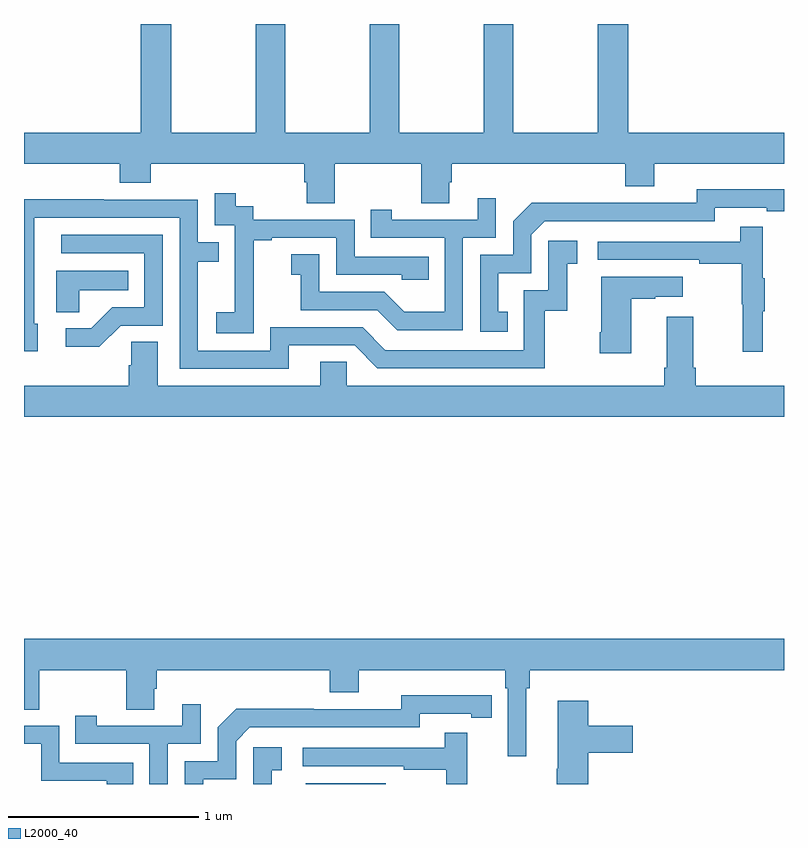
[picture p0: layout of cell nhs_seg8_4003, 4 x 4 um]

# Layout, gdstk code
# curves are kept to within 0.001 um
import gdstk
lib = gdstk.Library(unit=1e-6, precision=1e-09)
def R(c, l, rs):  # rectangles x0, y0, x1, y1
    for r in rs: c.add(gdstk.rectangle(r[:2], r[2:], *l))
def P(c, l, *ps):  # polygons
    for p in ps: c.add(gdstk.Polygon(p, *l))
L2000_40 = (2000, 40)

nhs_seg8_4003 = lib.new_cell('nhs_seg8_4003')
R(nhs_seg8_4003, L2000_40, [(358.484,1115.9,358.903,1115.905)])
P(nhs_seg8_4003, L2000_40, [(360.019,1119.328),(359.574,1119.328),(359.574,1119.9),(359.419,1119.9),(359.419,1119.328),(358.974,1119.328),(358.974,1119.9),(358.819,1119.9),(358.819,1119.328),(358.374,1119.328),(358.374,1119.9),(358.219,1119.9),(358.219,1119.328),(357.774,1119.328),(357.774,1119.9),(357.614,1119.9),(357.614,1119.328),(357,1119.328),(357,1119.164),(357.503,1119.164),(357.503,1119.065),(357.668,1119.065),(357.668,1119.164),(358.475,1119.164),(358.475,1119.066),(358.487,1119.066),(358.487,1118.956),(358.635,1118.956),(358.635,1119.164),(359.092,1119.164),(359.092,1118.956),(359.239,1118.956),(359.239,1119.066),(359.252,1119.066),(359.252,1119.164),(360.164,1119.164),(360.164,1119.047),(360.316,1119.047),(360.316,1119.164),(361,1119.164),(361,1119.328),(360.179,1119.328),(360.179,1119.9),(360.019,1119.9)],
  [(359.546,1118.385),(359.497,1118.385),(359.497,1118.589),(359.67,1118.589),(359.67,1118.79),(359.742,1118.862),(360.636,1118.862),(360.636,1118.934),(360.908,1118.934),(360.908,1118.914),(361,1118.914),(361,1119.03),(360.54,1119.031),(360.54,1118.958),(360.08,1118.958),(360.08,1118.96),(359.672,1118.96),(359.574,1118.862),(359.574,1118.685),(359.4,1118.685),(359.4,1118.28),(359.546,1118.28)],
  [(358.209,1118.479),(358.208,1118.479),(358.208,1118.763),(358.303,1118.763),(358.303,1118.775),(358.644,1118.775),(358.644,1118.58),(358.989,1118.58),(358.989,1118.553),(359.129,1118.553),(359.129,1118.676),(358.74,1118.676),(358.74,1118.871),(358.206,1118.871),(358.206,1118.94),(358.114,1118.94),(358.114,1119.01),(358.005,1119.01),(358.005,1118.841),(358.11,1118.841),(358.11,1118.612),(358.109,1118.612),(358.109,1118.383),(358.011,1118.383),(358.011,1118.273),(358.209,1118.273)],
  [(359.31,1118.775),(359.484,1118.775),(359.484,1118.983),(359.387,1118.983),(359.387,1118.871),(358.936,1118.871),(358.936,1118.923),(358.825,1118.923),(358.825,1118.775),(359.214,1118.775),(359.214,1118.386),(359,1118.386),(358.896,1118.49),(358.554,1118.49),(358.554,1118.689),(358.407,1118.689),(358.407,1118.579),(358.456,1118.579),(358.456,1118.394),(358.859,1118.394),(358.964,1118.289),(359.31,1118.289)],
  [(358.393,1118.208),(358.74,1118.208),(358.86,1118.088),(359.74,1118.088),(359.74,1118.391),(359.858,1118.391),(359.858,1118.637),(359.911,1118.637),(359.911,1118.758),(359.76,1118.758),(359.76,1118.499),(359.631,1118.499),(359.631,1118.184),(358.902,1118.184),(358.782,1118.304),(358.296,1118.304),(358.296,1118.181),(357.915,1118.181),(357.915,1118.65),(358.025,1118.65),(358.025,1118.751),(357.915,1118.751),(357.915,1118.976),(357.419,1118.976),(357.419,1118.978),(357,1118.978),(357,1118.178),(357.073,1118.178),(357.073,1118.322),(357.054,1118.322),(357.054,1118.88),(357.819,1118.88),(357.819,1118.085),(358.393,1118.085)],
  [(360.887,1118.387),(360.898,1118.387),(360.898,1118.561),(360.887,1118.561),(360.887,1118.833),(360.769,1118.833),(360.769,1118.754),(360.021,1118.754),(360.021,1118.658),(360.553,1118.658),(360.553,1118.638),(360.777,1118.638),(360.777,1118.424),(360.784,1118.424),(360.784,1118.175),(360.887,1118.175)],
  [(357.51,1118.313),(357.729,1118.313),(357.729,1118.79),(357.195,1118.79),(357.195,1118.694),(357.633,1118.694),(357.633,1118.409),(357.464,1118.409),(357.353,1118.298),(357.219,1118.298),(357.219,1118.201),(357.397,1118.201)],
  [(357.291,1118.498),(357.548,1118.498),(357.548,1118.602),(357.17,1118.602),(357.17,1118.383),(357.291,1118.383)],
  [(360.196,1118.455),(360.323,1118.455),(360.323,1118.465),(360.466,1118.465),(360.466,1118.569),(360.038,1118.569),(360.038,1118.278),(360.031,1118.278),(360.031,1118.166),(360.196,1118.166)],
  [(361,1117.996),(360.536,1117.996),(360.536,1118.092),(360.523,1118.092),(360.523,1118.359),(360.383,1118.359),(360.383,1118.092),(360.371,1118.092),(360.371,1117.996),(358.698,1117.996),(358.698,1118.123),(358.559,1118.123),(358.559,1117.996),(357.703,1117.996),(357.703,1118.228),(357.564,1118.228),(357.564,1118.105),(357.551,1118.105),(357.551,1117.996),(357,1117.996),(357,1117.832),(361,1117.832)],
  [(357,1116.292),(357.081,1116.292),(357.081,1116.5),(357.538,1116.5),(357.538,1116.292),(357.685,1116.292),(357.685,1116.402),(357.698,1116.402),(357.698,1116.5),(358.61,1116.5),(358.61,1116.383),(358.762,1116.383),(358.762,1116.5),(359.534,1116.5),(359.534,1116.404),(359.547,1116.404),(359.547,1116.045),(359.644,1116.045),(359.644,1116.404),(359.663,1116.404),(359.663,1116.5),(361,1116.5),(361,1116.664),(357,1116.664)],
  [(357.943,1115.925),(358.116,1115.925),(358.116,1116.126),(358.188,1116.198),(359.082,1116.198),(359.082,1116.27),(359.354,1116.27),(359.354,1116.25),(359.462,1116.25),(359.462,1116.366),(358.986,1116.367),(358.986,1116.294),(358.526,1116.294),(358.526,1116.296),(358.118,1116.296),(358.02,1116.198),(358.02,1116.021),(357.846,1116.021),(357.846,1115.9),(357.943,1115.9)],
  [(359.969,1116.065),(360.205,1116.065),(360.205,1116.207),(359.969,1116.207),(359.969,1116.337),(359.81,1116.337),(359.81,1115.981),(359.803,1115.981),(359.803,1115.9),(359.969,1115.9)],
  [(357.756,1116.111),(357.93,1116.111),(357.93,1116.319),(357.833,1116.319),(357.833,1116.207),(357.382,1116.207),(357.382,1116.259),(357.271,1116.259),(357.271,1116.111),(357.66,1116.111),(357.66,1115.9),(357.756,1115.9)],
  [(357.575,1116.012),(357.186,1116.012),(357.186,1116.207),(357,1116.207),(357,1116.111),(357.09,1116.111),(357.09,1115.916),(357.435,1115.916),(357.435,1115.9),(357.575,1115.9)],
  [(359.333,1116.169),(359.215,1116.169),(359.215,1116.09),(358.467,1116.09),(358.467,1115.994),(358.999,1115.994),(358.999,1115.974),(359.223,1115.974),(359.223,1115.9),(359.333,1115.9)],
  [(358.304,1115.973),(358.357,1115.973),(358.357,1116.094),(358.206,1116.094),(358.206,1115.9),(358.304,1115.9)])

lib.write_gds('nhs_seg8_4003.gds')
